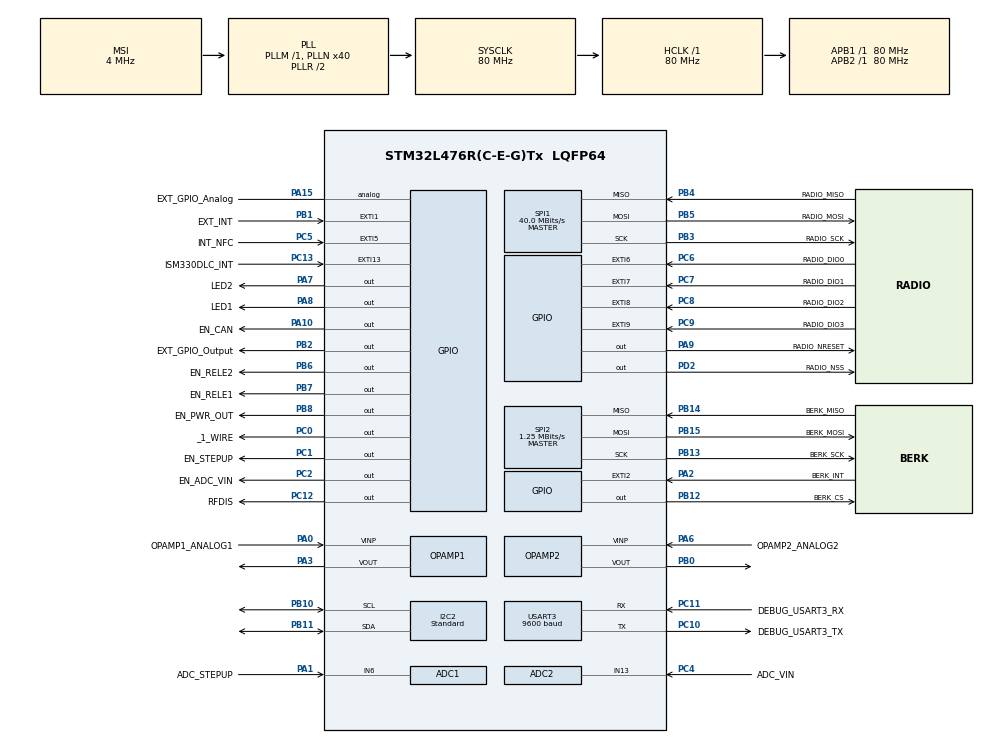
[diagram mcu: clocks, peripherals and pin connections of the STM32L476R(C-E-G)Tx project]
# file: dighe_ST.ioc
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ADC1.Channel-49\#ChannelRegularConversion=ADC_CHANNEL_8
ADC1.NbrOfConversionFlag=1
ADC1.OffsetNumber-49\#ChannelRegularConversion=ADC_OFFSET_NONE
ADC1.Rank-49\#ChannelRegularConversion=1
ADC1.SamplingTime-49\#ChannelRegularConversion=ADC_SAMPLETIME_2CYCLES_5
ADC1.master=1
ADC2.Channel-46\#ChannelRegularConversion=ADC_CHANNEL_15
ADC2.NbrOfConversionFlag=1
ADC2.OffsetNumber-46\#ChannelRegularConversion=ADC_OFFSET_NONE
ADC2.Rank-46\#ChannelRegularConversion=1
ADC2.SamplingTime-46\#ChannelRegularConversion=ADC_SAMPLETIME_2CYCLES_5
I2C2.I2C_Speed_Mode=I2C_Standard
I2C2.Speed=100
I2C2.Timing=0x10909CEC
Mcu.Family=STM32L4
Mcu.Name=STM32L476R(C-E-G)Tx
Mcu.Package=LQFP64
NVIC.PriorityGroup=NVIC_PRIORITYGROUP_4
OPAMP1.PowerSupplyRange=OPAMP_POWERSUPPLY_LOW
PA0.GPIO_Label=OPAMP1_ANALOG1
PA0.Mode=PGA Not Connected
PA0.Signal=OPAMP1_VINP
PA1.GPIO_Label=ADC_STEPUP
PA1.Signal=ADCx_IN6
PA10.GPIO_Label=EN_CAN
PA10.Signal=GPIO_Output
PA13\ (JTMS-SWDIO).Mode=Serial_Wire
PA13\ (JTMS-SWDIO).Signal=SYS_JTMS-SWDIO
PA14\ (JTCK-SWCLK).Mode=Serial_Wire
PA14\ (JTCK-SWCLK).Signal=SYS_JTCK-SWCLK
PA15\ (JTDI).GPIO_Label=EXT_GPIO_Analog
PA15\ (JTDI).Signal=GPIO_Analog
PA2.GPIO_Label=BERK_INT
PA2.Signal=GPXTI2
PA3.Mode=PGA Not Connected
PA3.Signal=OPAMP1_VOUT
PA6.GPIO_Label=OPAMP2_ANALOG2
PA6.Mode=PGA Not Connected
PA6.Signal=OPAMP2_VINP
PA7.GPIO_Label=LED2
PA7.Signal=GPIO_Output
PA8.GPIO_Label=LED1
PA8.Signal=GPIO_Output
PA9.GPIO_Label=RADIO_NRESET
PA9.Signal=GPIO_Output
PB0.Mode=PGA Not Connected
PB0.Signal=OPAMP2_VOUT
PB1.GPIO_Label=EXT_INT
PB1.Signal=GPXTI1
PB10.Mode=I2C
PB10.Signal=I2C2_SCL
PB11.Mode=I2C
PB11.Signal=I2C2_SDA
PB12.GPIO_Label=BERK_CS
PB12.Signal=GPIO_Output
PB13.GPIO_Label=BERK_SCK
PB13.Mode=Full_Duplex_Master
PB13.Signal=SPI2_SCK
PB14.GPIO_Label=BERK_MISO
PB14.Mode=Full_Duplex_Master
PB14.Signal=SPI2_MISO
PB15.GPIO_Label=BERK_MOSI
PB15.Mode=Full_Duplex_Master
PB15.Signal=SPI2_MOSI
PB2.GPIO_Label=EXT_GPIO_Output
PB2.Signal=GPIO_Output
PB3\ (JTDO-TRACESWO).GPIO_Label=RADIO_SCK
PB3\ (JTDO-TRACESWO).Mode=Full_Duplex_Master
PB3\ (JTDO-TRACESWO).Signal=SPI1_SCK
PB4\ (NJTRST).GPIO_Label=RADIO_MISO
PB4\ (NJTRST).Mode=Full_Duplex_Master
PB4\ (NJTRST).Signal=SPI1_MISO
PB5.GPIO_Label=RADIO_MOSI
PB5.Mode=Full_Duplex_Master
PB5.Signal=SPI1_MOSI
PB6.GPIO_Label=EN_RELE2
PB6.PinState=GPIO_PIN_SET
PB6.Signal=GPIO_Output
PB7.GPIO_Label=EN_RELE1
PB7.PinState=GPIO_PIN_SET
PB7.Signal=GPIO_Output
PB8.GPIO_Label=EN_PWR_OUT
PB8.PinState=GPIO_PIN_SET
PB8.Signal=GPIO_Output
PC0.GPIO_Label=_1_WIRE
PC0.Signal=GPIO_Output
PC1.GPIO_Label=EN_STEPUP
PC1.Signal=GPIO_Output
PC10.GPIO_Label=DEBUG_USART3_TX
PC10.Mode=Asynchronous
PC10.Signal=USART3_TX
PC11.GPIO_Label=DEBUG_USART3_RX
PC11.Mode=Asynchronous
PC11.Signal=USART3_RX
PC12.GPIO_Label=RFDIS
PC12.Signal=GPIO_Output
PC13.GPIO_Label=ISM330DLC_INT
PC13.Signal=GPXTI13
PC14-OSC32_IN\ (PC14).Mode=LSE-External-Oscillator
PC14-OSC32_IN\ (PC14).Signal=RCC_OSC32_IN
PC15-OSC32_OUT\ (PC15).Mode=LSE-External-Oscillator
PC15-OSC32_OUT\ (PC15).Signal=RCC_OSC32_OUT
PC2.GPIO_Label=EN_ADC_VIN
PC2.Signal=GPIO_Output
PC4.GPIO_Label=ADC_VIN
PC4.Signal=ADCx_IN13
PC5.GPIO_Label=INT_NFC
PC5.Signal=GPXTI5
PC6.GPIO_Label=RADIO_DIO0
PC6.Signal=GPXTI6
PC7.GPIO_Label=RADIO_DIO1
PC7.Signal=GPXTI7
PC8.GPIO_Label=RADIO_DIO2
PC8.Signal=GPXTI8
PC9.GPIO_Label=RADIO_DIO3
PC9.Signal=GPXTI9
PD2.GPIO_Label=RADIO_NSS
PD2.Signal=GPIO_Output
PH0-OSC_IN\ (PH0).Mode=HSE-External-Oscillator
PH0-OSC_IN\ (PH0).Signal=RCC_OSC_IN
PH1-OSC_OUT\ (PH1).Mode=HSE-External-Oscillator
PH1-OSC_OUT\ (PH1).Signal=RCC_OSC_OUT
ProjectManager.HeapSize=0x200
ProjectManager.StackSize=0x400
ProjectManager.TargetToolchain=SW4STM32
RCC.ADCFreq_Value=32000000
RCC.AHBFreq_Value=80000000
RCC.APB1Freq_Value=80000000
RCC.APB1TimFreq_Value=80000000
RCC.APB2Freq_Value=80000000
RCC.APB2TimFreq_Value=80000000
RCC.CortexFreq_Value=80000000
RCC.HCLKFreq_Value=80000000
RCC.HSE_VALUE=8000000
RCC.HSI_VALUE=16000000
RCC.MSI_VALUE=4000000
RCC.PLLN=40
RCC.PLLSAI1N=16
RCC.SYSCLKFreq_VALUE=80000000
RCC.SYSCLKSource=RCC_SYSCLKSOURCE_PLLCLK
RCC.USBFreq_Value=32000000
RCC.VCOOutputFreq_Value=160000000
SH.ADCx_IN13.0=ADC2_IN13,IN13-Single-Ended
SH.ADCx_IN6.0=ADC1_IN6,IN6-Single-Ended
SPI1.CalculateBaudRate=40.0 MBits/s
SPI1.Direction=SPI_DIRECTION_2LINES
SPI1.Mode=SPI_MODE_MASTER
SPI1.VirtualType=VM_MASTER
SPI2.BaudRatePrescaler=SPI_BAUDRATEPRESCALER_64
SPI2.CalculateBaudRate=1.25 MBits/s
SPI2.DataSize=SPI_DATASIZE_8BIT
SPI2.Direction=SPI_DIRECTION_2LINES
SPI2.Mode=SPI_MODE_MASTER
SPI2.VirtualType=VM_MASTER
USART3.BaudRate=9600
USART3.VirtualMode-Asynchronous=VM_ASYNC
VP_ADC1_OPAMP1_OUT.Mode=IN8-OPAMP1-Single-Ended
VP_ADC2_OPAMP2_OUT.Mode=IN15-OPAMP2-Single-Ended
VP_RTC_VS_RTC_Activate.Mode=RTC_Enabled
board=custom

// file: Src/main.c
/* USER CODE BEGIN Header */
/**
  ******************************************************************************
  * @file           : main.c
  * @brief          : Main program body
  ******************************************************************************
  ** This notice applies to any and all portions of this file
  * that are not between comment pairs USER CODE BEGIN and
  * USER CODE END. Other portions of this file, whether
  * inserted by the user or by software development tools
  * are owned by their respective copyright owners.
  *
  * COPYRIGHT(c) 2018 STMicroelectronics
  *
  * Redistribution and use in source and binary forms, with or without modification,
  * are permitted provided that the following conditions are met:
  *   1. Redistributions of source code must retain the above copyright notice,
  *      this list of conditions and the following disclaimer.
  *   2. Redistributions in binary form must reproduce the above copyright notice,
  *      this list of conditions and the following disclaimer in the documentation
  *      and/or other materials provided with the distribution.
  *   3. Neither the name of STMicroelectronics nor the names of its contributors
  *      may be used to endorse or promote products derived from this software
  *      without specific prior written permission.
  *
  * THIS SOFTWARE IS PROVIDED BY THE COPYRIGHT HOLDERS AND CONTRIBUTORS "AS IS"
  * AND ANY EXPRESS OR IMPLIED WARRANTIES, INCLUDING, BUT NOT LIMITED TO, THE
  * IMPLIED WARRANTIES OF MERCHANTABILITY AND FITNESS FOR A PARTICULAR PURPOSE ARE
  * DISCLAIMED. IN NO EVENT SHALL THE COPYRIGHT HOLDER OR CONTRIBUTORS BE LIABLE
  * FOR ANY DIRECT, INDIRECT, INCIDENTAL, SPECIAL, EXEMPLARY, OR CONSEQUENTIAL
  * DAMAGES (INCLUDING, BUT NOT LIMITED TO, PROCUREMENT OF SUBSTITUTE GOODS OR
  * SERVICES; LOSS OF USE, DATA, OR PROFITS; OR BUSINESS INTERRUPTION) HOWEVER
  * CAUSED AND ON ANY THEORY OF LIABILITY, WHETHER IN CONTRACT, STRICT LIABILITY,
  * OR TORT (INCLUDING NEGLIGENCE OR OTHERWISE) ARISING IN ANY WAY OUT OF THE USE
  * OF THIS SOFTWARE, EVEN IF ADVISED OF THE POSSIBILITY OF SUCH DAMAGE.
  *
  ******************************************************************************
  */
/* USER CODE END Header */

#include "main.h"
#include "adc.h"
#include "i2c.h"
#include "opamp.h"
#include "rtc.h"
#include "spi.h"
#include "usart.h"
#include "gpio.h"

/* USER CODE BEGIN Includes */
#include "hw.h"
#include "bsp.h"
#include "vcom.h"
#include "version.h"
#include "ism330dlc/ism330dlc_reg.h"
#include "ism330dlc/ism330dlc_app.h"
#include "HTS221/HTS221Sensor.h"
#include "HTS221_old/hts221.h"
#include "BERKELEY/BERKELEY.h"
#include "BERKELEY/berkeley_app.h"
#include "analog/analog.h"
#include <stdio.h>
#include <stdarg.h>
#include "../LoRaWAN/Core/lora.h"
#include "../LoRaWAN/Utilities/low_power_manager.h"
#include "../LoRaWAN/Utilities/timeServer.h"
#define PRINTF(...)     vcom_Send(__VA_ARGS__)
#define BUFSIZE 128
/* USER CODE END Includes */

/* USER CODE BEGIN PD */

#define RELE
//#define ACC

/*!
 * Defines the application data transmission duty cycle. value in [ms].
 */
#define START_TX_DUTYCYCLE                               30000
#define DEFAULT_TX_DUTYCYCLE                            600000
/*!
 * LoRaWAN Adaptive Data Rate
 * @note Please note that when ADR is enabled the end-device should be static
 */
#define LORAWAN_ADR_STATE LORAWAN_ADR_ON
/*!
 * LoRaWAN Default data Rate Data Rate
 * @note Please note that LORAWAN_DEFAULT_DATA_RATE is used only when ADR is disabled
 */
#define LORAWAN_DEFAULT_DATA_RATE DR_0
/*!
 * LoRaWAN application port
 * @note do not use 224. It is reserved for certification
 */
#define LORAWAN_APP_PORT                            2
/*!
 * LoRaWAN default endNode class port
 */
#define LORAWAN_DEFAULT_CLASS                       CLASS_A
/*!
 * LoRaWAN default confirm state
 */
#define LORAWAN_DEFAULT_CONFIRM_MSG_STATE           LORAWAN_CONFIRMED_MSG
/*!
 * User application data buffer size
 */
#define LORAWAN_APP_DATA_BUFF_SIZE                           64
/*!
 * User application data
 */
static uint8_t AppDataBuff[LORAWAN_APP_DATA_BUFF_SIZE];

/*!
 * User application data structure
 */
//static lora_AppData_t AppData={ AppDataBuff,  0 ,0 };
lora_AppData_t AppData={ AppDataBuff,  0 ,0 };

/* Private macro -------------------------------------------------------------*/
/* Private function prototypes -----------------------------------------------*/

/* call back when LoRa endNode has received a frame*/
static void LORA_RxData( lora_AppData_t *AppData);

/* call back when LoRa endNode has just joined*/
static void LORA_HasJoined( void );

/* call back when LoRa endNode has just switch the class*/
static void LORA_ConfirmClass ( DeviceClass_t Class );

/* call back when server needs endNode to send a frame*/
static void LORA_TxNeeded ( void );

/* LoRa endNode send request*/
static void Send( void );

/* start the tx process*/
static void LoraStartTx(TxEventType_t EventType);

/* tx timer callback function*/
static void OnTxTimerEvent( void );

/* Private variables ---------------------------------------------------------*/
/* load Main call backs structure*/
static LoRaMainCallback_t LoRaMainCallbacks = { HW_GetBatteryLevel,
                                                HW_GetTemperatureLevel,
                                                HW_GetUniqueId,
                                                HW_GetRandomSeed,
                                                LORA_RxData,
                                                LORA_HasJoined,
                                                LORA_ConfirmClass,
                                                LORA_TxNeeded};

/*!
 * Specifies the state of the application LED
 */
static uint8_t AppState = RESET;

static TimerEvent_t TxTimer;
static TimerEvent_t AccTimer;
static TimerEvent_t TiltTimer;

/* !
 *Initialises the Lora Parameters
 */
static  LoRaParam_t LoRaParamInit= {LORAWAN_ADR_STATE,
                                    LORAWAN_DEFAULT_DATA_RATE,
                                    LORAWAN_PUBLIC_NETWORK};

/* USER CODE END PD */

/* USER CODE BEGIN PV */
static axis3bit16_t data_raw_acceleration;
static axis3bit16_t data_raw_angular_rate;
static axis1bit16_t data_raw_temperature;
static float acceleration_mg[3];
static float angular_rate_mdps[3];
static float temperature_degC;
static uint8_t whoamI, rst;

uint8_t _start_count = 3;
uint8_t _first_time_flag = 0;
uint32_t app_tx_dutycyle = START_TX_DUTYCYCLE;

uint8_t _check_lora_stack = 0;
uint8_t _max_check_lora_stack = 3;

extern uint8_t timer_ism330dlc_read_acc_data;
extern uint8_t tim_berkeley_read_tilt_data;

void acc_acq(uint16_t ms, int16_t* acc_mean, int16_t* acc_min, int16_t* acc_max, uint16_t* acc_std);
void tilt_acq(uint16_t ms, int16_t* tilt_mean, int16_t* tilt_min, int16_t* tilt_max, uint16_t* tilt_std);

char data[50];
/* USER CODE END PV */

void SystemClock_Config(void);

/* USER CODE BEGIN 0 */
static uint16_t iw;
static char buff[BUFSIZE+16];
void vcom_Send( char *format, ... )
{
  va_list args;
  va_start(args, format);

  /*convert into string at buff[0] of length iw*/
  iw = vsprintf(&buff[0], format, args);

  HAL_UART_Transmit(&huart3,(uint8_t *)&buff[0], iw, 300);

  va_end(args);
}

/* USER CODE END 0 */

int main(void)
{

  /* MCU Configuration--------------------------------------------------------*/

  /* Reset of all peripherals, Initializes the Flash interface and the Systick. */
  HAL_Init();

  /* Configure the system clock */
  SystemClock_Config();

  /* Initialize all configured peripherals */
  MX_GPIO_Init();
  MX_I2C2_Init();
  MX_RTC_Init();
  MX_SPI1_Init();
  MX_USART3_UART_Init();
  MX_OPAMP1_Init();
  MX_ADC1_Init();
  MX_OPAMP2_Init();
  MX_ADC2_Init();
  MX_SPI2_Init();
  /* USER CODE BEGIN 2 */

  PRINTF("START\n");

//  HAL_GPIO_WritePin(LED1_GPIO_Port, LED1_Pin, GPIO_PIN_RESET);
//  HAL_GPIO_WritePin(LED1_GPIO_Port, LED1_Pin, GPIO_PIN_SET);

  HAL_GPIO_WritePin(EN_STEPUP_GPIO_Port, EN_STEPUP_Pin, GPIO_PIN_RESET);
//  HAL_GPIO_WritePin(EN_STEPUP_GPIO_Port, EN_STEPUP_Pin, GPIO_PIN_SET);
////  HAL_GPIO_WritePin(EN_STEPUP_GPIO_Port, EN_STEPUP_Pin, GPIO_PIN_RESET);
////  HAL_GPIO_WritePin(EN_STEPUP_GPIO_Port, EN_STEPUP_Pin, GPIO_PIN_SET);
////  HAL_GPIO_WritePin(EN_STEPUP_GPIO_Port, EN_STEPUP_Pin, GPIO_PIN_RESET);

//  HAL_GPIO_WritePin(EN_PWR_OUT_GPIO_Port, EN_PWR_OUT_Pin, GPIO_PIN_SET);
//  HAL_GPIO_WritePin(EN_PWR_OUT_GPIO_Port, EN_PWR_OUT_Pin, GPIO_PIN_RESET);
////  HAL_GPIO_WritePin(EN_PWR_OUT_GPIO_Port, EN_PWR_OUT_Pin, GPIO_PIN_SET);
////  HAL_GPIO_WritePin(EN_PWR_OUT_GPIO_Port, EN_PWR_OUT_Pin, GPIO_PIN_RESET);
//
//  HAL_GPIO_WritePin(EN_RELE1_GPIO_Port, EN_RELE1_Pin, GPIO_PIN_RESET);
//  HAL_GPIO_WritePin(EN_RELE1_GPIO_Port, EN_RELE1_Pin, GPIO_PIN_SET);
//
//  HAL_GPIO_WritePin(EN_RELE2_GPIO_Port, EN_RELE2_Pin, GPIO_PIN_RESET);
//  HAL_GPIO_WritePin(EN_RELE2_GPIO_Port, EN_RELE2_Pin, GPIO_PIN_SET);
//
//  HAL_GPIO_WritePin(EN_PWR_OUT_GPIO_Port, EN_PWR_OUT_Pin, GPIO_PIN_SET);
//
////  HAL_GPIO_WritePin(EN_STEPUP_GPIO_Port, EN_STEPUP_Pin, GPIO_PIN_RESET);
//
//  HAL_GPIO_WritePin(EN_RELE2_GPIO_Port, EN_RELE1_Pin, GPIO_PIN_RESET);
//  HAL_GPIO_WritePin(EN_RELE2_GPIO_Port, EN_RELE1_Pin, GPIO_PIN_SET);

#ifdef ACC
  BERKELEY_Init(208,2000);
#endif
	uint8_t err = 0;
	  PRINTF("01\n");
	err = ISM330DLC_Init(ISM330DLC_XL_ODR_12Hz5, ISM330DLC_2g, ISM330DLC_XL_ANA_BW_400Hz, ISM330DLC_XL_LOW_NOISE_LP_ODR_DIV_100);
	if(err!=0)
	{
	  sprintf(data,"Error: ISM330DLC_Init");
	  PRINTF("%s\r\n", data);
	}
	  PRINTF("02\n");
  /* Configure the hardware*/
  HW_Init();
  PRINTF("03\n");
  HAL_GPIO_WritePin(LED2_GPIO_Port, LED2_Pin, GPIO_PIN_SET);
  HAL_Delay(10000);
  HAL_GPIO_WritePin(LED2_GPIO_Port, LED2_Pin, GPIO_PIN_RESET);

  /*Disbale Stand-by mode*/
  LPM_SetOffMode(LPM_APPLI_Id , LPM_Disable );

  PRINTF("VERSION: %X\n\r", VERSION);

  /* Configure the Lora Stack*/
  LORA_Init( &LoRaMainCallbacks, &LoRaParamInit);

  LORA_Join();

  LoraStartTx( TX_ON_TIMER) ;

  /* USER CODE END 2 */

  /* Infinite loop */
  /* USER CODE BEGIN WHILE */
  while (1)
  {
//	  HAL_GPIO_TogglePin(LED1_GPIO_Port, LED1_Pin);
//	  HAL_GPIO_TogglePin(LED2_GPIO_Port, LED2_Pin);
    /* USER CODE END WHILE */

    /* USER CODE BEGIN 3 */

	LoRaMacProcess( );
	DISABLE_IRQ( );
	/* if an interrupt has occurred after DISABLE_IRQ, it is kept pending
	 * and cortex will not enter low power anyway  */

	#ifndef LOW_POWER_DISABLE
		LPM_EnterLowPower( );
	#endif

	ENABLE_IRQ();

//	uint16_t v = 0;
//	uint8_t res = 0;
//	res = getVIN(&v);
//	if(res == 0)
//	{
//		sprintf(data,"VIN ADC: %d", v);
//		PRINTF("%s\r\n", data);
//		sprintf(data,"VIN I: %f", ((float)v)*0.001611328125);
//		PRINTF("%s\r\n", data);
//	}

//// -------------------- S1 S2 ------------------------
//	float _s1 = 0.0;
//	float _s2 = 0.0;
//	float _p = 0.0;
//	float _t = 0.0;
//
//	uint16_t s1 = 0;
//	uint16_t s2 = 0;
//	uint8_t res1 = 0, res2 = 0;
//	HAL_GPIO_WritePin(EN_STEPUP_GPIO_Port, EN_STEPUP_Pin, GPIO_PIN_SET);
//	HAL_Delay(1000);
//	//---VSTEPUP---//
//	res = getVSTEPUP(&v);
//	if(res == 0)
//	{
//		sprintf(data,"VSTEPUP ADC: %d", v);
//		PRINTF("%s\r\n", data);
//		sprintf(data,"VSTEPUP I: %f", ((float)v)*0.0072509765625);
//		PRINTF("%s\r\n", data);
//	}
//	//---S1---//
//	res1 = get420_1(&s1);
//	//---S2---//
//	res2 = get420_2(&s2);
//	if(res1 == 0)
//	{
//		sprintf(data,"S1 ADC: %d", s1);
//		PRINTF("%s\r\n", data);
//		_s1 = (float)((float)s1)*0.000008824359940;
//		sprintf(data,"S1 I: %f", _s1);
//		PRINTF("%s\r\n", data);
//	}
//	if(res2 == 0)
//	{
//		sprintf(data,"S2 ADC: %d", s2);
//		PRINTF("%s\r\n", data);
//		_s2 = ((float)s2)*0.000008824359940;
//		sprintf(data,"S2 I: %f", _s2);
//		PRINTF("%s\r\n", data);
//	}
//	HAL_GPIO_WritePin(EN_STEPUP_GPIO_Port, EN_STEPUP_Pin, GPIO_PIN_RESET);
//
//	_p=(_s1*1000000-4000)*0.00015625;
//	sprintf(data,"--> S1 P: %fbar", _p);
//	PRINTF("%s\r\n", data);
//
//	_t=(_s2*1000000-4000)*0.001875;
//	sprintf(data,"--> S2 T: %f°C", _t);
//	PRINTF("%s\r\n", data);

// -------------------- CON RELE'------------------------
//	uint16_t s = 0;
//	HAL_GPIO_WritePin(EN_STEPUP_GPIO_Port, EN_STEPUP_Pin, GPIO_PIN_SET);
//	HAL_Delay(500);
//
//	res = getVSTEPUP(&v);
//	if(res == 0)
//	{
//		sprintf(data,"VSTEPUP ADC: %d", v);
//		PRINTF("%s\r\n", data);
//		sprintf(data,"VSTEPUP I: %f", ((float)v)*0.0072509765625);
//		PRINTF("%s\r\n", data);
//	}
//
//
//	HAL_GPIO_WritePin(EN_PWR_OUT_GPIO_Port, EN_PWR_OUT_Pin, GPIO_PIN_RESET);
//	HAL_Delay(100);
//
//	//---S1---//
//
//	res = get420_1(&s);
//	HAL_Delay(100);
//	if(res == 0)
//	{
//		sprintf(data,"S1a ADC: %d", s);
//		PRINTF("%s\r\n", data);
//		sprintf(data,"S1a I: %f", (float)((double)s)*0.000008824359940);
//		PRINTF("%s\r\n", data);
//	}
//	HAL_GPIO_WritePin(EN_RELE1_GPIO_Port, EN_RELE1_Pin, GPIO_PIN_RESET);
//	HAL_Delay(1000);
//	res = get420_1(&s);
//	HAL_Delay(100);
//	if(res == 0)
//	{
//		sprintf(data,"S1b ADC: %d", s);
//		PRINTF("%s\r\n", data);
//		sprintf(data,"S1b I: %f", (float)((double)s)*0.000008824359940);
//		PRINTF("%s\r\n", data);
//	}
//	HAL_GPIO_WritePin(EN_RELE1_GPIO_Port, EN_RELE1_Pin, GPIO_PIN_SET);
//	HAL_Delay(100);
//
//	//---S2---//
//
//	res = get420_2(&s);
//	HAL_Delay(100);
//	if(res == 0)
//	{
//		sprintf(data,"S2a ADC: %d", s);
//		PRINTF("%s\r\n", data);
//		sprintf(data,"S2a I: %f", (float)((double)s)*0.000008824359940);
//		PRINTF("%s\r\n", data);
//	}
//	HAL_GPIO_WritePin(EN_RELE2_GPIO_Port, EN_RELE2_Pin, GPIO_PIN_RESET);
//	HAL_Delay(1000);
//	res = get420_2(&s);
//	HAL_Delay(100);
//	if(res == 0)
//	{
//		sprintf(data,"S2b ADC: %d", s);
//		PRINTF("%s\r\n", data);
//		sprintf(data,"S2b I: %f", (float)((double)s)*0.000008824359940);
//		PRINTF("%s\r\n", data);
//	}
//	HAL_GPIO_WritePin(EN_RELE2_GPIO_Port, EN_RELE2_Pin, GPIO_PIN_SET);
//	HAL_Delay(100);
//
//	HAL_GPIO_WritePin(EN_PWR_OUT_GPIO_Port, EN_PWR_OUT_Pin, GPIO_PIN_SET);
//	HAL_Delay(100);
//	HAL_GPIO_WritePin(EN_STEPUP_GPIO_Port, EN_STEPUP_Pin, GPIO_PIN_RESET);
//
//	uint8_t ReadValue = 0;
//	BERKELEY_ReadReg(BERKELEY_REG_ADDR_WHO_AM_I, &ReadValue, 0x01);
//	sprintf((char*)data, "BERK id: %d", ReadValue );
//	PRINTF("%s\r\n", data);
//	int16_t ptrRawData[2];
//	BERKELEY_AccBitDataRead(ptrRawData);
//	sprintf((char*)data, "ptrRawData[0]: %d\r\nptrRawData[1]: %d\r\n", ptrRawData[0], ptrRawData[1] );
//	PRINTF("%s", data);
//	float ber_x=0, ber_y=0;
//	BERKELEY_GetAcceleration(&ber_x, &ber_y, 2000);
//	sprintf((char*)data, "x: %6.6f\r\ny: %6.6f\r\n", ber_x, ber_y );
//	PRINTF("%s", data);

//	HTS221Sensor(&hi2c2, HTS221_I2C_ADDRESS);
//	HTS221SensorEnable();
//	uint8_t id = 0;
//	HTS221SensorReadID(&id);
//	sprintf((char*)data, "id: %d", id );
//	PRINTF("%s\r\n", data);
//	HAL_Delay(100);
//	float temp = 0;
//	HTS221SensorGetTemperature(&temp);
//	sprintf((char*)data, "Temp: %6.2f", temp );
//	PRINTF("%s\r\n", data);
//	float hum = 0;
//	HTS221SensorGetHumidity(&hum);
//	sprintf((char*)data, "Hum: %6.2f", hum );
//	PRINTF("%s\r\n", data);
//	HTS221SensorDisable();

//	HTS221_Init();
//	uint8_t id = 0;
//	HTS221_ReadID(&id);
//	sprintf((char*)data, "id: %d", id );
//	PRINTF("%s\r\n", data);
//	HAL_Delay(100);
//	float temp = 0;
//    HTS221_GetTemperature(&temp);
//	sprintf((char*)data, "Temp: %6.2f", temp );
//	PRINTF("%s\r\n", data);
//	float hum = 0;
//    HTS221_GetHumidity(&hum);
//	sprintf((char*)data, "Hum: %6.2f", hum );
//	PRINTF("%s\r\n", data);
//	HTS221_Power_OFF();
//
//
//	float x=0.0, y=0.0, z=0.0;
//	float arx=0.0, ary=0.0, arz=0.0;
//	float t=0.0;
//
//	err = ISM330DLC_ReadAcceleration(&x, &y, &z);
//	if(err!=0)
//	{
//	  sprintf(data,"Error: ISM330DLC_ReadAcceleration");
//	  PRINTF("%s\r\n", data);
//	}
//	else
//	{
//	  sprintf((char*)data, "Acceleration [mg]:%4.2f\t%4.2f\t%4.2f", x, y, z);
//	  PRINTF("%s\r\n", data);
//	}
//
//	err = ISM330DLC_ReadAngularRate(&arx, &ary, &arz);
//	if(err!=0)
//	{
//	  sprintf(data,"Error: ISM330DLC_ReadAngularRate");
//	  PRINTF("%s\r\n", data);
//	}
//	else
//	{
//	  sprintf((char*)data, "Angular rate [mdps]:%4.2f\t%4.2f\t%4.2f", arx, ary, arz);
//	  PRINTF("%s\r\n", data);
//	}
//
//	err = ISM330DLC_ReadTemperature(&t);
//	if(err!=0)
//	{
//	  sprintf(data,"Error: ISM330DLC_ReadTemperature");
//	  PRINTF("%s\r\n", data);
//	}
//	else
//	{
//	  sprintf((char*)data, "Temperature [degC]:%6.2f", t);
//	  PRINTF("%s\r\n", data);
//	}

//	int16_t acc_mean[3] = {0.0};
//	uint16_t acc_std[3] = {0.0};
//	int16_t acc_min[3] = {0.0};
//	int16_t acc_max[3] = {0.0};
//	acc_acq(5000, acc_mean, acc_min, acc_max, acc_std);
//
//	int16_t tilt_mean[3] = {0.0};
//	uint16_t tilt_std[3] = {0.0};
//	int16_t tilt_min[3] = {0.0};
//	int16_t tilt_max[3] = {0.0};
//	tilt_acq(1000, tilt_mean, tilt_min, tilt_max, tilt_std);

//	  HAL_Delay(10000);
  }
  /* USER CODE END 3 */
}

void SystemClock_Config(void)
{
  RCC_OscInitTypeDef RCC_OscInitStruct = {0};
  RCC_ClkInitTypeDef RCC_ClkInitStruct = {0};
  RCC_PeriphCLKInitTypeDef PeriphClkInit = {0};

  /**Configure LSE Drive Capability
  */
  HAL_PWR_EnableBkUpAccess();
  __HAL_RCC_LSEDRIVE_CONFIG(RCC_LSEDRIVE_LOW);
  /**Initializes the CPU, AHB and APB busses clocks
  */
  RCC_OscInitStruct.OscillatorType = RCC_OSCILLATORTYPE_LSI|RCC_OSCILLATORTYPE_LSE
                              |RCC_OSCILLATORTYPE_MSI;
  RCC_OscInitStruct.LSEState = RCC_LSE_ON;
  RCC_OscInitStruct.LSIState = RCC_LSI_ON;
  RCC_OscInitStruct.MSIState = RCC_MSI_ON;
  RCC_OscInitStruct.MSICalibrationValue = 0;
  RCC_OscInitStruct.MSIClockRange = RCC_MSIRANGE_6;
  RCC_OscInitStruct.PLL.PLLState = RCC_PLL_ON;
  RCC_OscInitStruct.PLL.PLLSource = RCC_PLLSOURCE_MSI;
  RCC_OscInitStruct.PLL.PLLM = 1;
  RCC_OscInitStruct.PLL.PLLN = 40;
  RCC_OscInitStruct.PLL.PLLP = RCC_PLLP_DIV7;
  RCC_OscInitStruct.PLL.PLLQ = RCC_PLLQ_DIV2;
  RCC_OscInitStruct.PLL.PLLR = RCC_PLLR_DIV2;
  if (HAL_RCC_OscConfig(&RCC_OscInitStruct) != HAL_OK)
  {
    Error_Handler();
  }
  /**Initializes the CPU, AHB and APB busses clocks
  */
  RCC_ClkInitStruct.ClockType = RCC_CLOCKTYPE_HCLK|RCC_CLOCKTYPE_SYSCLK
                              |RCC_CLOCKTYPE_PCLK1|RCC_CLOCKTYPE_PCLK2;
  RCC_ClkInitStruct.SYSCLKSource = RCC_SYSCLKSOURCE_PLLCLK;
  RCC_ClkInitStruct.AHBCLKDivider = RCC_SYSCLK_DIV1;
  RCC_ClkInitStruct.APB1CLKDivider = RCC_HCLK_DIV1;
  RCC_ClkInitStruct.APB2CLKDivider = RCC_HCLK_DIV1;

  if (HAL_RCC_ClockConfig(&RCC_ClkInitStruct, FLASH_LATENCY_4) != HAL_OK)
  {
    Error_Handler();
  }
  PeriphClkInit.PeriphClockSelection = RCC_PERIPHCLK_RTC|RCC_PERIPHCLK_USART3
                              |RCC_PERIPHCLK_I2C2|RCC_PERIPHCLK_ADC;
  PeriphClkInit.Usart3ClockSelection = RCC_USART3CLKSOURCE_PCLK1;
  PeriphClkInit.I2c2ClockSelection = RCC_I2C2CLKSOURCE_PCLK1;
  PeriphClkInit.AdcClockSelection = RCC_ADCCLKSOURCE_PLLSAI1;
  PeriphClkInit.RTCClockSelection = RCC_RTCCLKSOURCE_LSI;
  PeriphClkInit.PLLSAI1.PLLSAI1Source = RCC_PLLSOURCE_MSI;
  PeriphClkInit.PLLSAI1.PLLSAI1M = 1;
  PeriphClkInit.PLLSAI1.PLLSAI1N = 16;
  PeriphClkInit.PLLSAI1.PLLSAI1P = RCC_PLLP_DIV7;
  PeriphClkInit.PLLSAI1.PLLSAI1Q = RCC_PLLQ_DIV2;
  PeriphClkInit.PLLSAI1.PLLSAI1R = RCC_PLLR_DIV2;
  PeriphClkInit.PLLSAI1.PLLSAI1ClockOut = RCC_PLLSAI1_ADC1CLK;
  if (HAL_RCCEx_PeriphCLKConfig(&PeriphClkInit) != HAL_OK)
  {
    Error_Handler();
  }
  /**Configure the main internal regulator output voltage
  */
  if (HAL_PWREx_ControlVoltageScaling(PWR_REGULATOR_VOLTAGE_SCALE1) != HAL_OK)
  {
    Error_Handler();
  }
  /**Enable MSI Auto calibration
  */
  HAL_RCCEx_EnableMSIPLLMode();
}

/* USER CODE BEGIN 4 */

static void LORA_HasJoined( void )
{
#if( OVER_THE_AIR_ACTIVATION != 0 )
  PRINTF("JOINED\n\r");
#endif
  LORA_RequestClass( LORAWAN_DEFAULT_CLASS );
}

static void Send( void )
{
  /* USER CODE BEGIN 3 */

	PRINTF("preSEND\r\n", data);

	sprintf(data,"check_lora_stack: %d", _check_lora_stack);
	PRINTF("%s\r\n", data);
	// check lora stack is running
	if(_check_lora_stack++ >= _max_check_lora_stack)
	{
		sprintf(data,"RESET\n");
		PRINTF("%s\r\n", data);
	    NVIC_SystemReset();
	}

	bool resultSend = false;

	uint16_t _vin = 0.0;
	int16_t _temp = 0.0;
	int16_t _hum = 0.0;
	float _x=0.0, _y=0.0, _z=0.0;
	float arx=0.0, ary=0.0, arz=0.0;
	float tmp=0.0;
	float _berkx=0.0, _berky=0.0;
	int16_t _acc_mean[3] = {0.0};
	uint16_t _acc_std[3] = {0.0};
	int16_t _acc_min[3] = {0.0};
	int16_t _acc_max[3] = {0.0};
	int16_t _tilt_mean[3] = {0.0};
	uint16_t _tilt_std[3] = {0.0};
	int16_t _tilt_min[3] = {0.0};
	int16_t _tilt_max[3] = {0.0};

#ifndef ACC
	uint16_t _vstepup = 0.0;
#ifndef RELE
	uint16_t _s1 = 0.0;
	uint16_t _s2 = 0.0;
#else
	uint16_t _s1a = 0.0;
	uint16_t _s1b = 0.0;
	uint16_t _s2a = 0.0;
	uint16_t _s2b = 0.0;
#endif
#endif
  if ( LORA_JoinStatus () != LORA_SET)
  {
    /*Not joined, try again later*/
    LORA_Join();
    return;
  }

  if(_start_count>0)
	  _start_count--;
  if( _start_count == 0 && _first_time_flag == 0)
  {
	app_tx_dutycyle = DEFAULT_TX_DUTYCYCLE;
	_first_time_flag = 1;
  }

	PRINTF("preSEND\r\n", data);

	sprintf(data,"duty-cycle %d\n", app_tx_dutycyle);
	PRINTF("%s\r\n", data);

	uint32_t i = 0;
	AppData.Port = LORAWAN_APP_PORT;

    uint8_t _type = 0x00;
#if defined(ACC)
    _type = 0x05;
#else
#ifndef RELE
    _type = 0x01;
#else
    _type = 0x02;
#endif
#endif

	uint16_t v = 0;
	float vin = 0.0;
	uint8_t res = 0;
	res = getVIN(&v);
	if(res == 0)
	{
	sprintf(data,"VIN ADC: %d", v);
	PRINTF("%s\r\n", data);
	_vin = v;
	vin = ((float)v)*0.001611328125;
	sprintf(data,"VIN I: %f", vin);
	PRINTF("%s\r\n", data);
	}

//#if defined(ACC)
//	uint8_t ReadValue = 0;
//	BERKELEY_ReadReg(BERKELEY_REG_ADDR_WHO_AM_I, &ReadValue, 0x01);
//	sprintf((char*)data, "BERK id: %d", ReadValue );
//	PRINTF("%s\r\n", data);
//	BERKELEY_GetAcceleration(&_berkx, &_berky, 500);
//	sprintf((char*)data, "x: %6.4f\r\ny: %6.4f\r\n", _berkx, _berky );
//	PRINTF("%s", data);
//#endif

//	float t = 0.0;
//	float h = 0.0;
//	uint8_t id = 0;
//	HTS221Sensor(&hi2c2, HTS221_I2C_ADDRESS);
//	HTS221SensorEnable();
//	HTS221SensorReadID(&id);
//	sprintf((char*)data, "id: %d", id );
//	PRINTF("%s\r\n", data);
//	HTS221SensorGetTemperature(&t);
//	_temp = (uint16_t) (( t + 80 ) * 100);
//	sprintf((char*)data, "Temp: %6.2f", t );
//	PRINTF("%s\r\n", data);
//	HTS221SensorGetHumidity(&h);
//	_hum = (uint16_t) (h * 100);
//	sprintf((char*)data, "Hum: %6.2f", h );
//	PRINTF("%s\r\n", data);
//	HTS221SensorDisable();

	float t = 0.0;
	float h = 0.0;
	uint8_t id = 0;
	HTS221_Init();
	HTS221_ReadID(&id);
	sprintf((char*)data, "id: %d", id );
	PRINTF("%s\r\n", data);
	HTS221_GetTemperature(&t);
	_temp = (int16_t) (t * 100);
	sprintf((char*)data, "Temp: %6.2f", t );
	PRINTF("%s\r\n", data);
	HTS221_GetHumidity(&h);
	_hum = (int16_t) (h * 100);
	sprintf((char*)data, "Hum: %6.2f", h );
	PRINTF("%s\r\n", data);
	HTS221_Power_OFF();

	uint8_t err = 0;
	err = ISM330DLC_ReadAcceleration(&_x, &_y, &_z);
	if(err!=0)
	{
	  sprintf(data,"Error: ISM330DLC_ReadAcceleration");
	  PRINTF("%s\r\n", data);
	}
	else
	{
	  sprintf((char*)data, "Acceleration [mg]:%4.2f\t%4.2f\t%4.2f", _x, _y, _z);
	  PRINTF("%s\r\n", data);
	}

	err = ISM330DLC_ReadAngularRate(&arx, &ary, &arz);
	if(err!=0)
	{
	  sprintf(data,"Error: ISM330DLC_ReadAngularRate");
	  PRINTF("%s\r\n", data);
	}
	else
	{
	  sprintf((char*)data, "Angular rate [mdps]:%4.2f\t%4.2f\t%4.2f", arx, ary, arz);
	  PRINTF("%s\r\n", data);
	}

	err = ISM330DLC_ReadTemperature(&tmp);
	if(err!=0)
	{
	  sprintf(data,"Error: ISM330DLC_ReadTemperature");
	  PRINTF("%s\r\n", data);
	}
	else
	{
	  sprintf((char*)data, "Temperature [degC]:%6.2f", tmp);
	  PRINTF("%s\r\n", data);
	}

#ifdef ACC
	acc_acq(3000, _acc_mean, _acc_min, _acc_max, _acc_std);
	tilt_acq(3000, _tilt_mean, _tilt_min, _tilt_max, _tilt_std);
#else
	acc_acq(3000, _acc_mean, _acc_min, _acc_max, _acc_std);
#endif

#ifndef ACC
	float vstepup = 0;
	int8_t c_power = 3;
	do{
		// STEPUP POWER ON
		HAL_GPIO_WritePin(EN_STEPUP_GPIO_Port, EN_STEPUP_Pin, GPIO_PIN_SET);

		int8_t c_time = 4;
		do{
			HAL_Delay(500);
			v = 0;
			res = 0;
			res = getVSTEPUP(&v);
			vstepup = ((float)v)*0.0072509765625;
		}while(vstepup < 24 || c_time-- > 0 );

		// STEPUP OK
		if(vstepup >= 24)
			break;

		// STEPUP POWER OFF
		HAL_GPIO_WritePin(EN_STEPUP_GPIO_Port, EN_STEPUP_Pin, GPIO_PIN_RESET);
		HAL_Delay(500);
	}while(vstepup < 24 || c_power-- > 0 );

	if(res == 0)
	{
		sprintf(data,"VSTEPUP ADC: %d", v);
		PRINTF("%s\r\n", data);
		_vstepup = v;
		sprintf(data,"VSTEPUP I: %f", ((float)v)*0.0072509765625);
		PRINTF("%s\r\n", data);
	}

	if( (vstepup >= 24) && (vin >= 3.4) )
	{
#ifndef RELE
//	 -------------------- SOLO S1 e S2 ------------------------
		uint16_t s1 = 0;
		uint16_t s2 = 0;
		uint8_t res1 = 0, res2 = 0;
		//---S1---//
		res1 = get420_1(&s1);
		//---S2---//
		res2 = get420_2(&s2);
		if(res1 == 0)
		{
			sprintf(data,"S1 ADC: %d", s1);
			PRINTF("%s\r\n", data);
			_s1 = s1;
			sprintf(data,"S1 I: %f", ((float)s1)*0.000008824359940);
			PRINTF("%s\r\n", data);
		}
		if(res2 == 0)
		{
			sprintf(data,"S2 ADC: %d", s2);
			PRINTF("%s\r\n", data);
			_s2 = s2;
			sprintf(data,"S2 I: %f", ((float)s2)*0.000008824359940);
			PRINTF("%s\r\n", data);
		}
		// STEPUP POWER OFF
		HAL_GPIO_WritePin(EN_STEPUP_GPIO_Port, EN_STEPUP_Pin, GPIO_PIN_RESET);

#else
// -------------------- CON RELE'------------------------
		uint16_t s = 0;
		// RELE' BOARD POWER ON
		HAL_GPIO_WritePin(EN_PWR_OUT_GPIO_Port, EN_PWR_OUT_Pin, GPIO_PIN_RESET);
		HAL_Delay(100);

		//---S1---//
		s = 0;
		res = get420_1(&s);
		if(res == 0)
		{
			sprintf(data,"S1a ADC: %d", s);
			PRINTF("%s\r\n", data);
			_s1a = s;
			sprintf(data,"S1a I: %f", (float)((float)s)*0.000008824359940);
			PRINTF("%s\r\n", data);
		}
		// SWITCH RELE'
		HAL_GPIO_WritePin(EN_RELE1_GPIO_Port, EN_RELE1_Pin, GPIO_PIN_RESET);
		HAL_Delay(300);
		s = 0;
		res = get420_1(&s);
		if(res == 0)
		{
			sprintf(data,"S1b ADC: %d", s);
			PRINTF("%s\r\n", data);
			_s1b = s;
			sprintf(data,"S1b I: %f", (float)((float)s)*0.000008824359940);
			PRINTF("%s\r\n", data);
		}
		// DE-SWITCH RELE'
		HAL_GPIO_WritePin(EN_RELE1_GPIO_Port, EN_RELE1_Pin, GPIO_PIN_SET);

		//---S2---//
		s = 0;
		res = get420_2(&s);
		if(res == 0)
		{
			sprintf(data,"S2a ADC: %d", s);
			PRINTF("%s\r\n", data);
			_s2a = s;
			sprintf(data,"S2a I: %f", (float)((double)s)*0.000008824359940);
			PRINTF("%s\r\n", data);
		}
		// SWITCH RELE'
		HAL_GPIO_WritePin(EN_RELE2_GPIO_Port, EN_RELE2_Pin, GPIO_PIN_RESET);
		HAL_Delay(300);
		s = 0;
		res = get420_2(&s);
		if(res == 0)
		{
			sprintf(data,"S2b ADC: %d", s);
			PRINTF("%s\r\n", data);
			_s2b = s;
			sprintf(data,"S2b I: %f", (float)((double)s)*0.000008824359940);
			PRINTF("%s\r\n", data);
		}
		// DE-SWITCH RELE'
		HAL_GPIO_WritePin(EN_RELE2_GPIO_Port, EN_RELE2_Pin, GPIO_PIN_SET);
		// RELE' BOARD POWER OFF
		HAL_GPIO_WritePin(EN_PWR_OUT_GPIO_Port, EN_PWR_OUT_Pin, GPIO_PIN_SET);
		// STEPUP POWER OFF
		HAL_GPIO_WritePin(EN_STEPUP_GPIO_Port, EN_STEPUP_Pin, GPIO_PIN_RESET);
#endif
	}
#endif

  memcpy(&AppData.Buff[i], &_type, sizeof(_type));
  i+=sizeof(_type);
  memcpy(&AppData.Buff[i], &_vin, sizeof(_vin));
  i+=sizeof(_vin);
  memcpy(&AppData.Buff[i], &_temp, sizeof(_temp));
  i+=sizeof(_temp);
  memcpy(&AppData.Buff[i], &_hum, sizeof(_hum));
  i+=sizeof(_hum);
  memcpy(&AppData.Buff[i], _acc_mean, sizeof(_acc_mean[0])*3);
  i+=sizeof(_acc_mean[0])*3;
#ifdef ACC
  memcpy(&AppData.Buff[i], _acc_min, sizeof(_acc_min[0])*3);
  i+=sizeof(_acc_min[0])*3;
  memcpy(&AppData.Buff[i], _acc_max, sizeof(_acc_max[0])*3);
  i+=sizeof(_acc_max[0])*3;
  memcpy(&AppData.Buff[i], _acc_std, sizeof(_acc_std[0])*3);
  i+=sizeof(_acc_std[0])*3;
  memcpy(&AppData.Buff[i], _tilt_mean, sizeof(_tilt_mean[0])*2);
  i+=sizeof(_tilt_mean[0])*2;
  memcpy(&AppData.Buff[i], _tilt_min, sizeof(_tilt_min[0])*2);
  i+=sizeof(_tilt_min[0])*2;
  memcpy(&AppData.Buff[i], _tilt_max, sizeof(_tilt_max[0])*2);
  i+=sizeof(_tilt_max[0])*2;
  memcpy(&AppData.Buff[i], _tilt_std, sizeof(_tilt_std[0])*2);
  i+=sizeof(_tilt_std[0])*2;
#endif
#ifndef ACC
  memcpy(&AppData.Buff[i], &_vstepup, sizeof(_vstepup));
  i+=sizeof(_vstepup);
#ifndef RELE
  memcpy(&AppData.Buff[i], &_s1, sizeof(_s1));
  i+=sizeof(_s1);
  memcpy(&AppData.Buff[i], &_s2, sizeof(_s2));
  i+=sizeof(_s2);
#else
  memcpy(&AppData.Buff[i], &_s1a, sizeof(_s1a));
  i+=sizeof(_s1a);
  memcpy(&AppData.Buff[i], &_s1b, sizeof(_s1b));
  i+=sizeof(_s1b);
  memcpy(&AppData.Buff[i], &_s2a, sizeof(_s2a));
  i+=sizeof(_s2a);
  memcpy(&AppData.Buff[i], &_s2b, sizeof(_s2b));
  i+=sizeof(_s2b);
#endif
#endif

//  AppData.Buff[i++] = 'c';
//  AppData.Buff[i++] = 'i';
//  AppData.Buff[i++] = 'a';
//  AppData.Buff[i++] = 'o';

  AppData.BuffSize = i;

  resultSend = LORA_send( &AppData, LORAWAN_DEFAULT_CONFIRM_MSG_STATE);
  if(resultSend == true)
	  sprintf(data,"resultSend: true");
  else
	  sprintf(data,"resultSend: false");
  PRINTF("%s\r\n", data);

  /* USER CODE END 3 */
}

static void LORA_RxData( lora_AppData_t *AppData )
{
  /* USER CODE BEGIN 4 */
//  PRINTF("PACKET RECEIVED ON PORT %d\n\r", AppData->Port);

  switch (AppData->Port)
  {
    case LORAWAN_APP_PORT:
		switch ( AppData->Buff[0] )
		{
			// soft RESET
			case 1:
			{
//				sprintf(data,"RESET\n");
//				PRINTF("%s\r\n", data);
			    NVIC_SystemReset();
			break;
			}
			// change duty-cycle
			case 2:
			{
				// duty-cycle in seconds
				uint16_t _dc = 180;
				memcpy(&_dc, &AppData->Buff[1], sizeof(uint16_t));
//				sprintf(data,"duty-cycle %d\n", _dc);
//				PRINTF("%s\r\n", data);
				// 		1min			3min			5min			10min			30min			1ora			3ore
				if( (_dc == 60) || (_dc == 180) || (_dc == 300) || (_dc == 600) || (_dc == 1800) || (_dc == 3600) || (_dc == 10800) )
					app_tx_dutycyle = _dc * 1000;
			break;
			}
			default:
			break;
		}
    break;
  default:
    break;
  }
}

static void OnTxTimerEvent( void )
{
  /*Wait for next tx slot*/
	TimerStop(&TxTimer);
	TimerInit( &TxTimer, OnTxTimerEvent );
	TimerSetValue( &TxTimer,  app_tx_dutycyle);
  TimerStart( &TxTimer);
  /*Send*/
  Send( );
}

static void LoraStartTx(TxEventType_t EventType)
{
  if (EventType == TX_ON_TIMER)
  {
    /* send everytime timer elapses */
//	TimerInit( &TxTimer, OnTxTimerEvent );
//	TimerSetValue( &TxTimer,  app_tx_dutycyle);
    OnTxTimerEvent();
  }
  else
  {
    /* send everytime button is pushed */
//    GPIO_InitTypeDef initStruct={0};
//
//    initStruct.Mode =GPIO_MODE_IT_RISING;
//    initStruct.Pull = GPIO_PULLUP;
//    initStruct.Speed = GPIO_SPEED_HIGH;
//
//    HW_GPIO_Init( USER_BUTTON_GPIO_PORT, USER_BUTTON_PIN, &initStruct );
//    HW_GPIO_SetIrq( USER_BUTTON_GPIO_PORT, USER_BUTTON_PIN, 0, Send );
  }
}

static void LORA_ConfirmClass ( DeviceClass_t Class )
{
  PRINTF("switch to class %c done\n\r","ABC"[Class] );

  /*Optionnal*/
  /*informs the server that switch has occurred ASAP*/
  AppData.BuffSize = 0;
  AppData.Port = LORAWAN_APP_PORT;

  LORA_send( &AppData, LORAWAN_UNCONFIRMED_MSG);
}

static void LORA_TxNeeded ( void )
{
  AppData.BuffSize = 0;
  AppData.Port = LORAWAN_APP_PORT;

  LORA_send( &AppData, LORAWAN_UNCONFIRMED_MSG);
}

static void EndAccAcqusitionTimerEvent( void )
{
	TimerStop(&AccTimer);
	timer_ism330dlc_read_acc_data = 1;
	sprintf((char*)data, "stop acc timer");
	PRINTF("%s\r\n", data);
}

void acc_acq(uint16_t ms, int16_t* acc_mean, int16_t* acc_min, int16_t* acc_max, uint16_t* acc_std)
{
	uint32_t acc_samples = 0;

	ISM330DLC_ResetAccInternals();

	timer_ism330dlc_read_acc_data = 0;
	TimerInit( &AccTimer, EndAccAcqusitionTimerEvent );
	TimerSetValue( &AccTimer,  ms);
//	TimerStart( &AccTimer);

	sprintf((char*)data, "start acc timer");
	PRINTF("%s\r\n", data);

	while(timer_ism330dlc_read_acc_data == 0)
	{
		ISM330DLC_ReadAccData();
	}
	ISM330DLC_AccComputeStats(&acc_samples, 2);

	sprintf((char*)data, "counter_acc_data :%d", acc_samples);
	PRINTF("%s\r\n", data);

	double acc_var[3] = {0.0};

	ISM330DLC_GetMeanAcc(acc_mean);
	ISM330DLC_GetVarAcc(acc_var);
	ISM330DLC_GetStdAcc(acc_std);
	ISM330DLC_GetMinAcc(acc_min);
	ISM330DLC_GetMaxAcc(acc_max);

	sprintf((char*)data, "Mean [16]:%d\t%d\t%d", acc_mean[0], acc_mean[1], acc_mean[2]);
	PRINTF("%s\r\n", data);
	sprintf((char*)data, "Min [16]:%d\t%d\t%d", acc_min[0], acc_min[1], acc_min[2]);
	PRINTF("%s\r\n", data);
	sprintf((char*)data, "Max [16]:%d\t%d\t%d", acc_max[0], acc_max[1], acc_max[2]);
	PRINTF("%s\r\n", data);

	float acc_mean_f[3] = {0.0};
	float acc_min_f[3] = {0.0};
	float acc_max_f[3] = {0.0};

	ISM330DLC_AccGetmg(ISM330DLC_2g, acc_mean, acc_mean_f);
	ISM330DLC_AccGetmg(ISM330DLC_2g, acc_min, acc_min_f);
	ISM330DLC_AccGetmg(ISM330DLC_2g, acc_max, acc_max_f);

	sprintf((char*)data, "Mean [mg]:%4.3f\t%4.3f\t%4.3f", acc_mean_f[0], acc_mean_f[1], acc_mean_f[2]);
	PRINTF("%s\r\n", data);
	sprintf((char*)data, "Var [mg]:%4.6f\t%4.6f\t%4.6f", acc_var[0], acc_var[1], acc_var[2]);
	PRINTF("%s\r\n", data);
	sprintf((char*)data, "Min [mg]:%4.3f\t%4.3f\t%4.3f", acc_min_f[0], acc_min_f[1], acc_min_f[2]);
	PRINTF("%s\r\n", data);
	sprintf((char*)data, "Max [mg]:%4.3f\t%4.3f\t%4.3f", acc_max_f[0], acc_max_f[1], acc_max_f[2]);
	PRINTF("%s\r\n", data);
	sprintf((char*)data, "Sdt [16]:%d\t%d\t%d", acc_std[0], acc_std[1], acc_std[2]);
	PRINTF("%s\r\n", data);

}

static void EndTiltAcqusitionTimerEvent( void )
{
	TimerStop(&TiltTimer);
	tim_berkeley_read_tilt_data = 1;
	sprintf((char*)data, "stop tilt timer");
	PRINTF("%s\r\n", data);
}

void tilt_acq(uint16_t ms, int16_t* tilt_mean, int16_t* tilt_min, int16_t* tilt_max, uint16_t* tilt_std)
{
	uint32_t tilt_samples = 0;

	BERKELEY_ResetTiltInternals();

	tim_berkeley_read_tilt_data = 0;
	TimerInit( &TiltTimer, EndTiltAcqusitionTimerEvent );
	TimerSetValue( &TiltTimer,  ms);
//	TimerStart( &TiltTimer);

	sprintf((char*)data, "start tilt timer");
	PRINTF("%s\r\n", data);

	while(tim_berkeley_read_tilt_data == 0)
	{
		BERKELEY_ReadTiltData();
	}
	BERKELEY_TiltComputeStats(&tilt_samples, 2000);

	sprintf((char*)data, "counter_tilt_data :%d", tilt_samples);
	PRINTF("%s\r\n", data);

	double tilt_var[2] = {0.0};

	BERKELEY_GetMeanTilt(tilt_mean);
	BERKELEY_GetVarTilt(tilt_var);
	BERKELEY_GetStdTilt(tilt_std);
	BERKELEY_GetMinTilt(tilt_min);
	BERKELEY_GetMaxTilt(tilt_max);

	sprintf((char*)data, "Tilt Mean [16]:%d\t%d", tilt_mean[0], tilt_mean[1]);
	PRINTF("%s\r\n", data);
	sprintf((char*)data, "Tilt Min [16]:%d\t%d", tilt_min[0], tilt_min[1]);
	PRINTF("%s\r\n", data);
	sprintf((char*)data, "Tilt Max [16]:%d\t%d", tilt_max[0], tilt_max[1]);
	PRINTF("%s\r\n", data);

	float tilt_mean_f[2] = {0.0};
	float tilt_min_f[2] = {0.0};
	float tilt_max_f[2] = {0.0};

	int8_t i=0;
	for (i=0;i<2;i++)
	{
		tilt_mean_f[i] = BERKELEY_ConvertMG(tilt_mean[i], 2000);
		tilt_min_f[i] = BERKELEY_ConvertMG(tilt_min[i], 2000);
		tilt_max_f[i] = BERKELEY_ConvertMG(tilt_max[i], 2000);
	}

	sprintf((char*)data, "Tilt Mean [mg]:%4.6f\t%4.6f", tilt_mean_f[0], tilt_mean_f[1]);
	PRINTF("%s\r\n", data);
	sprintf((char*)data, "Tilt Var [mg]:%4.6f\t%4.6f", tilt_var[0], tilt_var[1]);
	PRINTF("%s\r\n", data);
	sprintf((char*)data, "Tilt Min [mg]:%4.6f\t%4.6f", tilt_min_f[0], tilt_min_f[1]);
	PRINTF("%s\r\n", data);
	sprintf((char*)data, "Tilt Max [mg]:%4.6f\t%4.6f", tilt_max_f[0], tilt_max_f[1]);
	PRINTF("%s\r\n", data);
	sprintf((char*)data, "Tilt Sdt [16]:%d\t%d", tilt_std[0], tilt_std[1]);
	PRINTF("%s\r\n", data);

}

/* USER CODE END 4 */

void Error_Handler(void)
{
  /* USER CODE BEGIN Error_Handler_Debug */
  /* User can add his own implementation to report the HAL error return state */
	NVIC_SystemReset();
	PRINTF("Error_Handler\n\r");
	  while (1);
  /* USER CODE END Error_Handler_Debug */
}

/************************ (C) COPYRIGHT STMicroelectronics *****END OF FILE****/
